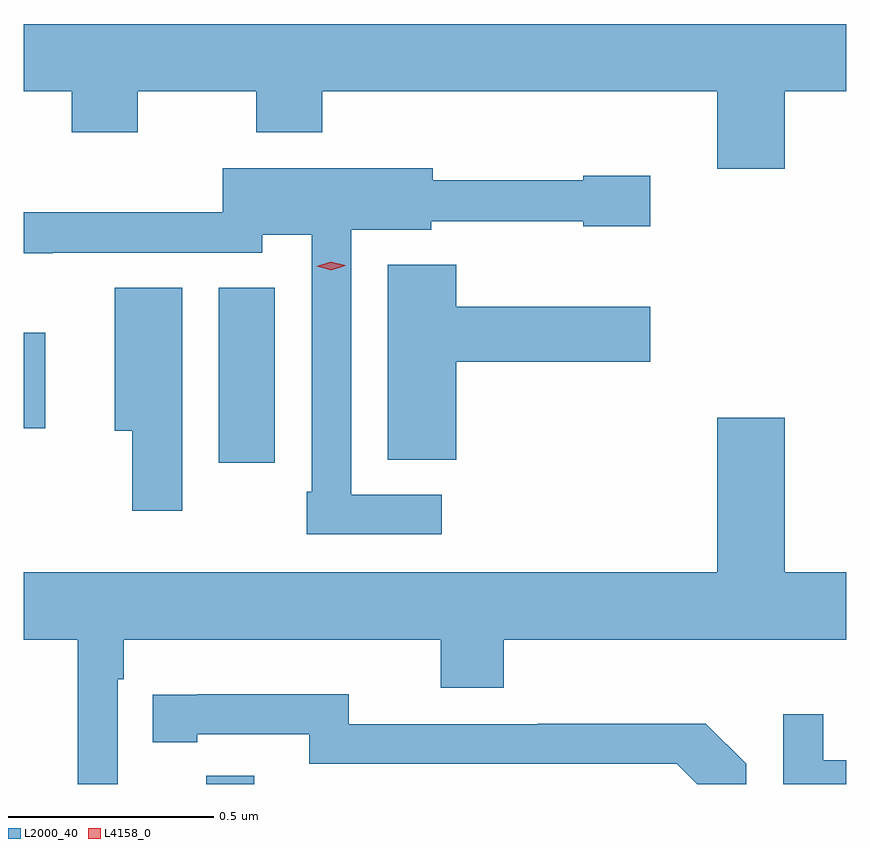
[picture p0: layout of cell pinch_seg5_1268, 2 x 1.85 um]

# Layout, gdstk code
import gdstk
lib = gdstk.Library(unit=1e-6, precision=1e-09)
def R(c, l, rs):  # rectangles x0, y0, x1, y1
    for r in rs: c.add(gdstk.rectangle(r[:2], r[2:], *l))
def P(c, l, *ps):  # polygons
    for p in ps: c.add(gdstk.Polygon(p, *l))
L2000_40 = (2000, 40)
L4158_0 = (4158, 0)

pinch_seg5_1268 = lib.new_cell('pinch_seg5_1268')
R(pinch_seg5_1268, L2000_40, [(451.478,895.037,451.595,895.057), (451.508,895.818,451.645,896.243), (451.034,895.901,451.087,896.134)])
P(pinch_seg5_1268, L2000_40, [(452.884,896.72),(453.034,896.72),(453.034,896.884),(451.034,896.884),(451.034,896.72),(451.151,896.72),(451.151,896.621),(451.311,896.621),(451.311,896.72),(451.6,896.72),(451.6,896.621),(451.76,896.621),(451.76,896.72),(452.72,896.72),(452.72,896.532),(452.884,896.532)],
  [(452.05,895.74),(451.83,895.74),(451.83,896.384),(452.025,896.384),(452.025,896.405),(452.394,896.405),(452.394,896.393),(452.557,896.393),(452.557,896.515),(452.394,896.515),(452.394,896.504),(452.029,896.504),(452.029,896.533),(451.518,896.533),(451.518,896.426),(451.034,896.426),(451.034,896.327),(451.105,896.327),(451.105,896.328),(451.614,896.328),(451.614,896.372),(451.734,896.372),(451.734,895.747),(451.722,895.747),(451.722,895.644),(452.05,895.644)],
  [(452.086,896.063),(452.557,896.063),(452.557,896.197),(452.086,896.197),(452.086,896.299),(451.919,896.299),(451.919,895.825),(452.086,895.825)],
  [(451.42,896.243),(451.256,896.243),(451.256,895.895),(451.298,895.895),(451.298,895.701),(451.42,895.701)],
  [(451.263,895.292),(451.277,895.292),(451.277,895.388),(452.048,895.388),(452.048,895.271),(452.201,895.271),(452.201,895.388),(453.034,895.388),(453.034,895.552),(452.884,895.552),(452.884,895.927),(452.72,895.927),(452.72,895.552),(451.034,895.552),(451.034,895.388),(451.166,895.388),(451.166,895.037),(451.263,895.037)],
  [(452.79,895.086),(452.692,895.184),(452.284,895.184),(452.284,895.182),(451.824,895.182),(451.824,895.255),(451.456,895.255),(451.456,895.254),(451.348,895.254),(451.348,895.138),(451.456,895.138),(451.456,895.158),(451.728,895.158),(451.728,895.086),(452.622,895.086),(452.671,895.037),(452.79,895.037)],
  [(453.034,895.095),(452.977,895.095),(452.977,895.207),(452.88,895.207),(452.88,895.037),(453.034,895.037)])
P(pinch_seg5_1268, L4158_0, [(451.782,896.286),(451.747,896.295),(451.747,896.295),(451.747,896.295),(451.781,896.306),(451.816,896.298),(451.816,896.297),(451.816,896.297)])

lib.write_gds('pinch_seg5_1268.gds')
